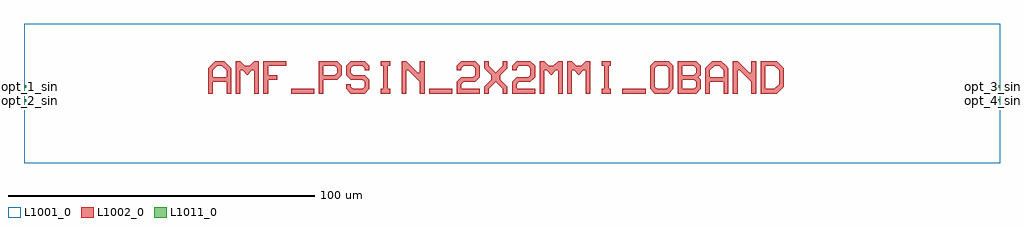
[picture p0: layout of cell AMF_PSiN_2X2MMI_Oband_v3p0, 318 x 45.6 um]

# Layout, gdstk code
import gdstk
lib = gdstk.Library(unit=1e-6, precision=1e-09)
def R(c, l, rs):  # rectangles x0, y0, x1, y1
    for r in rs: c.add(gdstk.rectangle(r[:2], r[2:], *l))
def P(c, l, *ps):  # polygons
    for p in ps: c.add(gdstk.Polygon(p, *l))
L1001_0 = (1001, 0)
L1002_0 = (1002, 0)
L1011_0 = (1011, 0)

amf_psin_2x2mmi_oband_v3 = lib.new_cell('AMF_PSiN_2X2MMI_Oband_v3p0')
R(amf_psin_2x2mmi_oband_v3, L1001_0, [(0,-22.8,318,22.8)])
R(amf_psin_2x2mmi_oband_v3, L1002_0, [(87,0,94.5,1.5), (132,0,139.5,1.5), (195,0,202.5,1.5)])
P(amf_psin_2x2mmi_oband_v3, L1002_0, [(60,0),(60,8.25),(62.25,10.5),(65.25,10.5),(66.75,9),(63,9),(61.5,7.5),(61.5,5.25),(66,5.25),(66,7.5),(64.5,9),(66.75,9),(67.5,8.25),(67.5,0),(66,0),(66,3.75),(61.5,3.75),(61.5,0)],
  [(69,0),(69,10.5),(70.5,10.5),(72,9),(73.5,9),(75,10.5),(76.5,10.5),(76.5,0),(75,0),(75,7.5),(74.25,7.5),(72.75,6),(71.25,7.5),(70.5,7.5),(70.5,0)],
  [(78,0),(78,10.5),(85.5,10.5),(85.5,9),(79.5,9),(79.5,6),(82.5,6),(82.5,4.5),(79.5,4.5),(79.5,0)],
  [(96,0),(96,10.5),(102,10.5),(103.5,9),(103.5,6),(102,4.5),(97.5,4.5),(97.5,6),(101.25,6),(102,6.75),(102,8.25),(101.25,9),(97.5,9),(97.5,0)],
  [(106.5,0),(105,1.5),(105,3),(106.5,3),(106.5,2.25),(107.25,1.5),(110.25,1.5),(111,2.25),(111,3.75),(110.25,4.5),(106.5,4.5),(105,6),(105,9),(106.5,10.5),(111,10.5),(112.5,9),(112.5,7.5),(111,7.5),(111,8.25),(110.25,9),(107.25,9),(106.5,8.25),(106.5,6.75),(107.25,6),(111,6),(112.5,4.5),(112.5,1.5),(111,0)],
  [(116.25,0),(116.25,1.5),(117,1.5),(117,9),(116.25,9),(116.25,10.5),(119.25,10.5),(119.25,9),(118.5,9),(118.5,1.5),(119.25,1.5),(119.25,0)],
  [(123,0),(123,10.5),(124.5,10.5),(128.25,6.75),(129,6.75),(129,10.5),(130.5,10.5),(130.5,0),(129,0),(129,3.75),(125.25,7.5),(124.5,7.5),(124.5,0)],
  [(141,0),(141,3.75),(142.5,5.25),(146.25,5.25),(147,6),(147,8.25),(146.25,9),(143.25,9),(142.5,8.25),(142.5,7.5),(141,7.5),(141,9),(142.5,10.5),(147,10.5),(148.5,9),(148.5,5.25),(147,3.75),(143.25,3.75),(142.5,3),(142.5,1.5),(148.5,1.5),(148.5,0)],
  [(150,0),(150,2.25),(152.25,4.5),(152.25,6),(150,8.25),(150,10.5),(151.5,10.5),(151.5,9),(153.75,6.75),(156,9),(156,10.5),(157.5,10.5),(157.5,8.25),(155.25,6),(155.25,4.5),(157.5,2.25),(157.5,0),(156,0),(156,1.5),(153.75,3.75),(151.5,1.5),(151.5,0)],
  [(159,0),(159,3.75),(160.5,5.25),(164.25,5.25),(165,6),(165,8.25),(164.25,9),(161.25,9),(160.5,8.25),(160.5,7.5),(159,7.5),(159,9),(160.5,10.5),(165,10.5),(166.5,9),(166.5,5.25),(165,3.75),(161.25,3.75),(160.5,3),(160.5,1.5),(166.5,1.5),(166.5,0)],
  [(168,0),(168,10.5),(169.5,10.5),(171,9),(172.5,9),(174,10.5),(175.5,10.5),(175.5,0),(174,0),(174,7.5),(173.25,7.5),(171.75,6),(170.25,7.5),(169.5,7.5),(169.5,0)],
  [(177,0),(177,10.5),(178.5,10.5),(180,9),(181.5,9),(183,10.5),(184.5,10.5),(184.5,0),(183,0),(183,7.5),(182.25,7.5),(180.75,6),(179.25,7.5),(178.5,7.5),(178.5,0)],
  [(188.25,0),(188.25,1.5),(189,1.5),(189,9),(188.25,9),(188.25,10.5),(191.25,10.5),(191.25,9),(190.5,9),(190.5,1.5),(191.25,1.5),(191.25,0)],
  [(205.5,0),(204,1.5),(204,9),(205.5,10.5),(210,10.5),(211.5,9),(211.5,5.25),(210,5.25),(210,8.25),(209.25,9),(206.25,9),(205.5,8.25),(205.5,2.25),(206.25,1.5),(209.25,1.5),(210,2.25),(210,5.25),(211.5,5.25),(211.5,1.5),(210,0)],
  [(213,0),(213,10.5),(219,10.5),(220.5,9),(214.5,9),(214.5,6),(218.25,6),(219,6.75),(219,8.25),(218.25,9),(220.5,9),(220.5,6),(219.75,5.25),(220.5,4.5),(214.5,4.5),(214.5,1.5),(218.25,1.5),(219,2.25),(219,3.75),(218.25,4.5),(220.5,4.5),(220.5,1.5),(219,0)],
  [(222,0),(222,8.25),(224.25,10.5),(227.25,10.5),(228.75,9),(225,9),(223.5,7.5),(223.5,5.25),(228,5.25),(228,7.5),(226.5,9),(228.75,9),(229.5,8.25),(229.5,0),(228,0),(228,3.75),(223.5,3.75),(223.5,0)],
  [(231,0),(231,10.5),(232.5,10.5),(236.25,6.75),(237,6.75),(237,10.5),(238.5,10.5),(238.5,0),(237,0),(237,3.75),(233.25,7.5),(232.5,7.5),(232.5,0)],
  [(240,0),(240,10.5),(245.25,10.5),(246.75,9),(241.5,9),(241.5,1.5),(244.5,1.5),(246,3),(246,7.5),(244.5,9),(246.75,9),(247.5,8.25),(247.5,2.25),(245.25,0)])
R(amf_psin_2x2mmi_oband_v3, L1011_0, [(0,-2.7,0.8,-1.9), (317.2,-2.7,318,-1.9), (0,1.9,0.8,2.7), (317.2,1.9,318,2.7)])
amf_psin_2x2mmi_oband_v3.add(gdstk.Label('opt_1_sin', (0,2.3), layer=1011, texttype=0))
amf_psin_2x2mmi_oband_v3.add(gdstk.Label('opt_2_sin', (0,-2.3), layer=1011, texttype=0))
amf_psin_2x2mmi_oband_v3.add(gdstk.Label('opt_3_sin', (318,2.3), layer=1011, texttype=0))
amf_psin_2x2mmi_oband_v3.add(gdstk.Label('opt_4_sin', (318,-2.3), layer=1011, texttype=0))

lib.write_gds('AMF_PSiN_2X2MMI_Oband_v3p0.gds')
